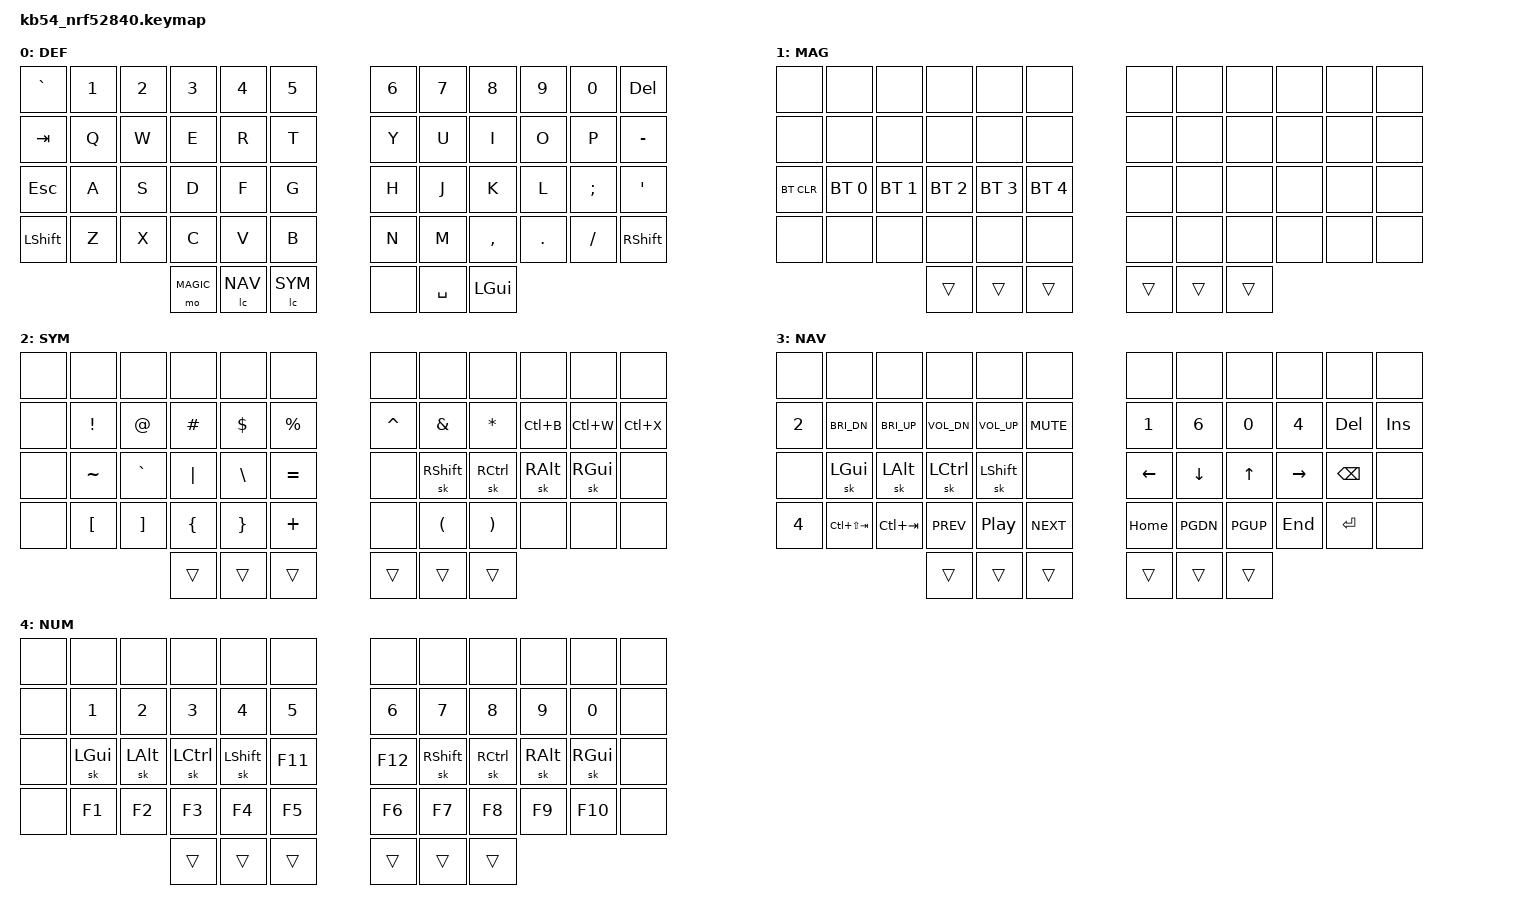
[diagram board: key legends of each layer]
/*
 * Copyright (c) 2020 The ZMK Contributors
 *
 * SPDX-License-Identifier: MIT
 */

#include <behaviors.dtsi>
#include <dt-bindings/zmk/keys.h>
#include <dt-bindings/zmk/bt.h>

// layers
#define BASE 0
#define MAGIC 1
#define SYM 2
#define NAV 3
#define NUM 4

&sk {
    quick-release; // Avoids "THis" problem (double capitalization)
    release-after-ms = <86400000>;// Default is 1000 ms, raised to 1 day to emulate Callum's behavior that requires canceling on layer key.
};
&caps_word { continue-list = <UNDERSCORE MINUS BACKSPACE DELETE LSHFT SQT CARET TILDE GRAVE>; };


/ {
        macros {
            lc: mo_layer_switch_with_an_embeded_cancel_tap_for_clearing_any_queued_sticky_mods_on_layer_activation {
              compatible = "zmk,behavior-macro-one-param";
              label = "mo_layer/cancel";
              wait-ms = <0>;
              tap-ms = <0>;
              #binding-cells = <1>;
              bindings =
                  <&macro_tap>,
                  <&kp K_CANCEL &macro_param_1to1>,
                  <&macro_press>,
                  <&mo MACRO_PLACEHOLDER>,
                  <&macro_pause_for_release>,
                  <&macro_param_1to1>,
                  <&macro_release>,
                  <&mo MACRO_PLACEHOLDER>;
            };

        };

        conditional_layers {
            compatible = "zmk,conditional-layers";

            tri_layer_for_function_and_number_row_keys {
                if-layers = <NAV SYM>;
                then-layer = <NUM>;
            };
        };


        keymap {
                compatible = "zmk,keymap";

                base {
                      display-name = "DEF";
                      label = "DEF";
                        bindings = <
&kp GRAVE  &kp N1  &kp N2  &kp N3     &kp N4   &kp N5   &kp N6     &kp N7     &kp N8     &kp N9   &kp N0    &kp DEL    
&kp TAB    &kp Q   &kp W   &kp E      &kp R    &kp T    &kp Y      &kp U      &kp I      &kp O    &kp P     &kp MINUS  
&kp ESC    &kp A   &kp S   &kp D      &kp F    &kp G    &kp H      &kp J      &kp K      &kp L    &kp SEMI  &kp SQT    
&kp LSHFT   &kp Z   &kp X   &kp C      &kp V    &kp B    &kp N      &kp M      &kp COMMA  &kp DOT  &kp FSLH  &kp RSHFT   
                           &mo MAGIC  &lc NAV  &lc SYM  &none      &kp SPACE  &kp LGUI                               
                        >;
                };

                magic {
                    display-name = "MAG";
                    label = "MAG";
                        bindings = <
&none       &none         &none         &none         &none         &none         &none   &none   &none   &none  &none  &none  
&none       &none         &none         &none         &none         &none         &none   &none   &none   &none  &none  &none  
&bt BT_CLR  &bt BT_SEL 0  &bt BT_SEL 1  &bt BT_SEL 2  &bt BT_SEL 3  &bt BT_SEL 4  &none   &none   &none   &none  &none  &none  
&none       &none         &none         &none         &none         &none         &none   &none   &none   &none  &none  &none  
                                        &trans        &trans        &trans        &trans  &trans  &trans                       
                        >;
                };

                sym {
                    display-name = "SYM";
                    label = "SYM";
                        bindings = <
&none  &none      &none      &none     &none       &none      &none      &none      &none      &none      &none      &none      
&none  &kp EXCL   &kp AT     &kp HASH  &kp DOLLAR  &kp PRCNT  &kp CARET  &kp AMPS   &kp STAR   &kp LC(B)  &kp LC(W)  &kp LC(X)  
&none  &kp TILDE  &kp GRAVE  &kp PIPE  &kp BSLH    &kp EQUAL  &none      &sk RSHFT  &sk RCTRL  &sk RALT   &sk RGUI   &none      
&none  &kp LBKT   &kp RBKT   &kp LBRC  &kp RBRC    &kp PLUS   &none      &kp LPAR   &kp RPAR   &none      &none      &none      
                             &trans    &trans      &trans     &trans     &trans     &trans                                      
                        >;
                };

                nav {
                    display-name = "NAV";
                    label = "NAV";
                        bindings = <
&none  &none      &none      &none     &none       &none      &none      &none      &none      &none      &none      &none      
&kp N2  &kp C_BRI_DN     &kp C_BRI_UP  &kp C_VOL_DN  &kp C_VOL_UP  &kp C_MUTE  &kp N1    &kp N6    &kp N0    &kp N4     &kp DEL   &kp INS  
&none   &sk LGUI         &sk LALT      &sk LCTRL     &sk LSHFT     &none       &kp LEFT  &kp DOWN  &kp UP    &kp RIGHT  &kp BSPC  &none    
&kp N4  &kp LC(LS(TAB))  &kp LC(TAB)   &kp C_PREV    &kp C_PP      &kp C_NEXT  &kp HOME  &kp PGDN  &kp PGUP  &kp END    &kp RET   &none    
                                       &trans        &trans        &trans      &trans    &trans    &trans                                  
                        >;
                };

                num {
                    display-name = "NUM";
                    label = "NUM";
                        bindings = <
&none  &none     &none     &none      &none      &none    &none    &none      &none      &none     &none     &none  
&none  &kp N1    &kp N2    &kp N3     &kp N4     &kp N5   &kp N6   &kp N7     &kp N8     &kp N9    &kp N0    &none  
&none  &sk LGUI  &sk LALT  &sk LCTRL  &sk LSHFT  &kp F11  &kp F12  &sk RSHFT  &sk RCTRL  &sk RALT  &sk RGUI  &none  
&none  &kp F1    &kp F2    &kp F3     &kp F4     &kp F5   &kp F6   &kp F7     &kp F8     &kp F9    &kp F10   &none  
                           &trans     &trans     &trans   &trans   &trans     &trans                                
                        >;
                };
        };
};
